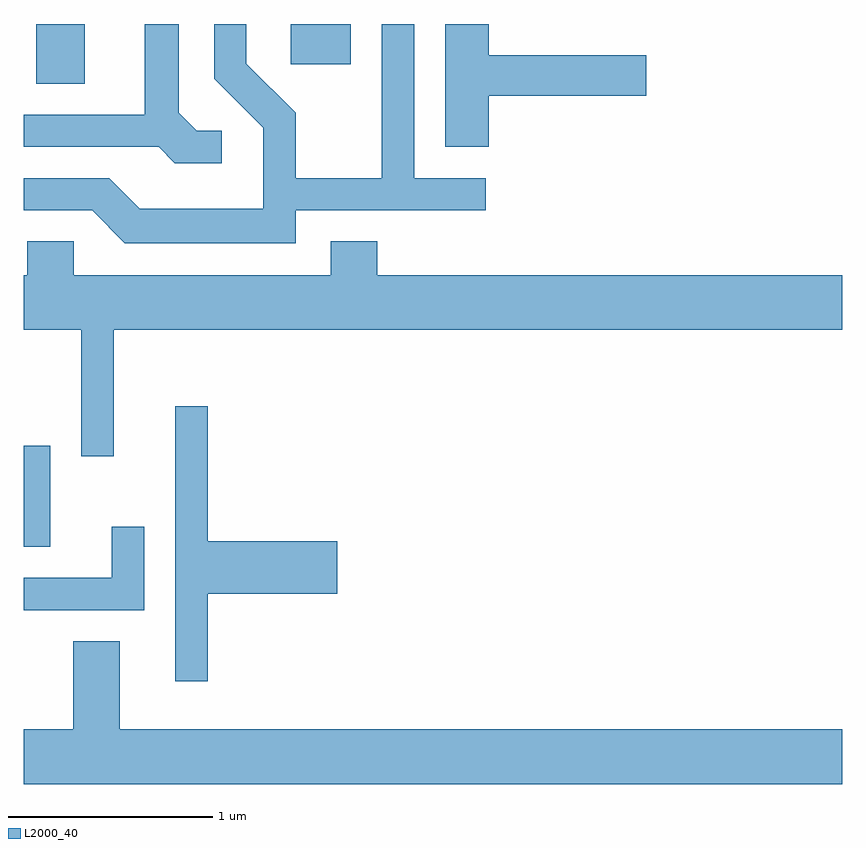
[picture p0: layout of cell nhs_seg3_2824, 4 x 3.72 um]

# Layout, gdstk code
import gdstk
lib = gdstk.Library(unit=1e-6, precision=1e-09)
def R(c, l, rs):  # rectangles x0, y0, x1, y1
    for r in rs: c.add(gdstk.rectangle(r[:2], r[2:], *l))
def P(c, l, *ps):  # polygons
    for p in ps: c.add(gdstk.Polygon(p, *l))
L2000_40 = (2000, 40)

nhs_seg3_2824 = lib.new_cell('nhs_seg3_2824')
R(nhs_seg3_2824, L2000_40, [(267.611,1189.336,267.739,1189.829), (267.671,1191.601,267.909,1191.892), (268.916,1191.696,269.209,1191.892)])
P(nhs_seg3_2824, L2000_40, [(268.939,1190.981),(269.868,1190.981),(269.868,1191.139),(269.519,1191.139),(269.519,1191.892),(269.361,1191.892),(269.361,1191.139),(268.939,1191.139),(268.939,1191.457),(268.699,1191.697),(268.699,1191.892),(268.541,1191.892),(268.541,1191.624),(268.781,1191.384),(268.781,1190.989),(268.177,1190.989),(268.027,1191.139),(267.611,1191.139),(267.611,1190.981),(267.944,1190.981),(268.104,1190.821),(268.939,1190.821)],
  [(269.884,1191.541),(270.654,1191.541),(270.654,1191.739),(269.884,1191.739),(269.884,1191.892),(269.671,1191.892),(269.671,1191.291),(269.884,1191.291)],
  [(268.578,1191.369),(268.457,1191.369),(268.369,1191.457),(268.369,1191.892),(268.201,1191.892),(268.201,1191.449),(267.611,1191.449),(267.611,1191.291),(268.269,1191.291),(268.349,1191.211),(268.578,1191.211)],
  [(268.049,1190.396),(271.611,1190.396),(271.611,1190.664),(269.339,1190.664),(269.339,1190.829),(269.111,1190.829),(269.111,1190.664),(267.854,1190.664),(267.854,1190.829),(267.626,1190.829),(267.626,1190.664),(267.611,1190.664),(267.611,1190.396),(267.891,1190.396),(267.891,1189.778),(268.049,1189.778)],
  [(268.509,1189.106),(269.144,1189.106),(269.144,1189.364),(268.509,1189.364),(268.509,1190.023),(268.351,1190.023),(268.351,1188.678),(268.509,1188.678)],
  [(268.199,1189.433),(268.041,1189.433),(268.041,1189.184),(267.611,1189.184),(267.611,1189.026),(268.199,1189.026)],
  [(271.611,1188.444),(268.079,1188.444),(268.079,1188.874),(267.851,1188.874),(267.851,1188.444),(267.611,1188.444),(267.611,1188.176),(271.611,1188.176)])

lib.write_gds('nhs_seg3_2824.gds')
